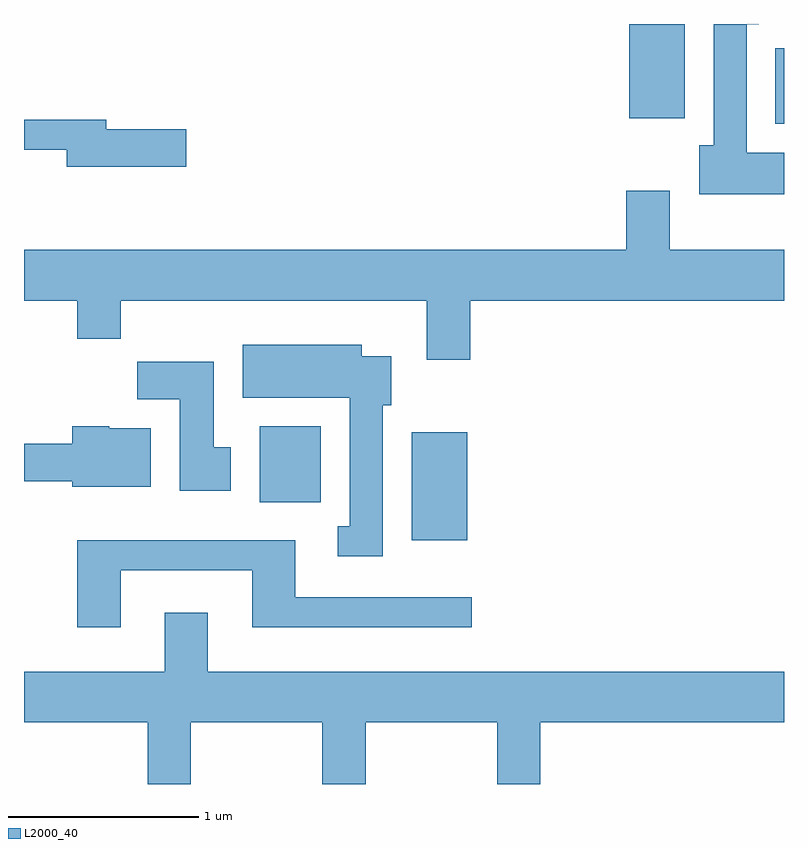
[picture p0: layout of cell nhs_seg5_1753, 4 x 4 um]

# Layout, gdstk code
import gdstk
lib = gdstk.Library(unit=1e-6, precision=1e-09)
def R(c, l, rs):  # rectangles x0, y0, x1, y1
    for r in rs: c.add(gdstk.rectangle(r[:2], r[2:], *l))
def P(c, l, *ps):  # polygons
    for p in ps: c.add(gdstk.Polygon(p, *l))
L2000_40 = (2000, 40)

nhs_seg5_1753 = lib.new_cell('nhs_seg5_1753')
R(nhs_seg5_1753, L2000_40, [(239.651,1413.356,239.944,1413.924), (238.851,1413.556,239.174,1413.954), (241.566,1415.546,241.611,1415.944), (240.796,1415.576,241.089,1416.072)])
P(nhs_seg5_1753, L2000_40, [(241.611,1415.394),(241.414,1415.394),(241.414,1416.071),(241.478,1416.071),(241.478,1416.072),(241.241,1416.072),(241.241,1415.434),(241.166,1415.434),(241.166,1415.176),(241.611,1415.176)],
  [(238.464,1415.519),(238.044,1415.519),(238.044,1415.569),(237.611,1415.569),(237.611,1415.411),(237.836,1415.411),(237.836,1415.321),(238.464,1415.321)],
  [(239.959,1414.616),(241.611,1414.616),(241.611,1414.884),(241.009,1414.884),(241.009,1415.194),(240.781,1415.194),(240.781,1414.884),(237.611,1414.884),(237.611,1414.616),(237.891,1414.616),(237.891,1414.416),(238.119,1414.416),(238.119,1414.616),(239.731,1414.616),(239.731,1414.306),(239.959,1414.306)],
  [(239.499,1414.066),(239.544,1414.066),(239.544,1414.324),(239.389,1414.324),(239.389,1414.384),(238.761,1414.384),(238.761,1414.106),(239.326,1414.106),(239.326,1413.429),(239.263,1413.429),(239.263,1413.271),(239.499,1413.271)],
  [(238.699,1413.844),(238.609,1413.844),(238.609,1414.294),(238.206,1414.294),(238.206,1414.096),(238.431,1414.096),(238.431,1413.616),(238.699,1413.616)],
  [(238.279,1413.944),(238.06,1413.944),(238.06,1413.954),(237.866,1413.954),(237.866,1413.864),(237.611,1413.864),(237.611,1413.666),(237.866,1413.666),(237.866,1413.636),(238.279,1413.636)],
  [(238.119,1413.196),(238.811,1413.196),(238.811,1412.896),(239.968,1412.896),(239.968,1413.054),(239.039,1413.054),(239.039,1413.354),(237.891,1413.354),(237.891,1412.896),(238.119,1412.896)],
  [(238.489,1412.396),(239.181,1412.396),(239.181,1412.072),(239.409,1412.072),(239.409,1412.396),(240.101,1412.396),(240.101,1412.072),(240.329,1412.072),(240.329,1412.396),(241.611,1412.396),(241.611,1412.664),(238.579,1412.664),(238.579,1412.974),(238.351,1412.974),(238.351,1412.664),(237.611,1412.664),(237.611,1412.396),(238.261,1412.396),(238.261,1412.072),(238.489,1412.072)])

lib.write_gds('nhs_seg5_1753.gds')
